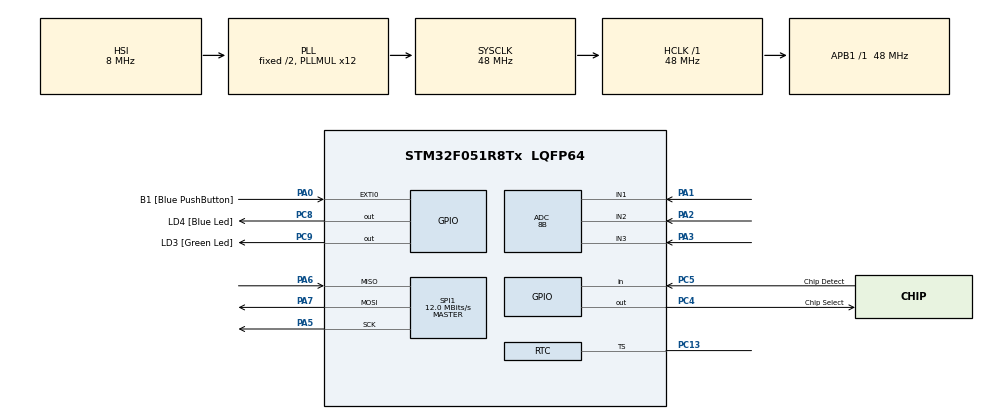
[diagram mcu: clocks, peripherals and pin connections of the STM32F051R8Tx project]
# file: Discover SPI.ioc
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ADC.ClockPrescaler=ADC_CLOCK_SYNC_PCLK_DIV4
ADC.DMAContinuousRequests=ENABLE
ADC.DiscontinuousConvMode=ENABLE
ADC.Overrun=ADC_OVR_DATA_OVERWRITTEN
ADC.Resolution=ADC_RESOLUTION_8B
ADC.SamplingTime=ADC_SAMPLETIME_71CYCLES_5
Dma.ADC.2.Direction=DMA_PERIPH_TO_MEMORY
Dma.ADC.2.Instance=DMA1_Channel1
Dma.ADC.2.MemDataAlignment=DMA_MDATAALIGN_HALFWORD
Dma.ADC.2.MemInc=DMA_MINC_ENABLE
Dma.ADC.2.Mode=DMA_NORMAL
Dma.ADC.2.PeriphDataAlignment=DMA_PDATAALIGN_HALFWORD
Dma.ADC.2.PeriphInc=DMA_PINC_DISABLE
Dma.ADC.2.Priority=DMA_PRIORITY_HIGH
Dma.Request0=SPI1_RX
Dma.Request1=SPI1_TX
Dma.Request2=ADC
Dma.SPI1_RX.0.Direction=DMA_PERIPH_TO_MEMORY
Dma.SPI1_RX.0.Instance=DMA1_Channel2
Dma.SPI1_RX.0.MemDataAlignment=DMA_MDATAALIGN_BYTE
Dma.SPI1_RX.0.MemInc=DMA_MINC_ENABLE
Dma.SPI1_RX.0.Mode=DMA_NORMAL
Dma.SPI1_RX.0.PeriphDataAlignment=DMA_PDATAALIGN_BYTE
Dma.SPI1_RX.0.PeriphInc=DMA_PINC_DISABLE
Dma.SPI1_RX.0.Priority=DMA_PRIORITY_MEDIUM
Dma.SPI1_TX.1.Direction=DMA_MEMORY_TO_PERIPH
Dma.SPI1_TX.1.Instance=DMA1_Channel3
Dma.SPI1_TX.1.MemDataAlignment=DMA_MDATAALIGN_BYTE
Dma.SPI1_TX.1.MemInc=DMA_MINC_ENABLE
Dma.SPI1_TX.1.Mode=DMA_NORMAL
Dma.SPI1_TX.1.PeriphDataAlignment=DMA_PDATAALIGN_BYTE
Dma.SPI1_TX.1.PeriphInc=DMA_PINC_DISABLE
Dma.SPI1_TX.1.Priority=DMA_PRIORITY_MEDIUM
Mcu.Family=STM32F0
Mcu.Name=STM32F051R8Tx
Mcu.Package=LQFP64
NVIC.DMA1_Channel1_IRQn=true\:0\:0\:false\:false\:true
NVIC.DMA1_Channel2_3_IRQn=true\:0\:0\:false\:false\:true
NVIC.SPI1_IRQn=true\:0\:0\:false\:false\:true
PA0.GPIO_Label=B1 [Blue PushButton]
PA0.GPIO_ModeDefaultEXTI=GPIO_MODE_EVT_RISING
PA0.Signal=GPXTI0
PA1.Mode=IN1
PA1.Signal=ADC_IN1
PA13.GPIO_Label=SWDIO
PA13.Signal=SYS_SWDIO
PA14.GPIO_Label=SWCLK
PA14.Signal=SYS_SWCLK
PA2.Mode=IN2
PA2.Signal=ADC_IN2
PA3.Mode=IN3
PA3.Signal=ADC_IN3
PA5.Mode=Full_Duplex_Master
PA5.Signal=SPI1_SCK
PA6.GPIO_PuPd=GPIO_NOPULL
PA6.Mode=Full_Duplex_Master
PA6.Signal=SPI1_MISO
PA7.Mode=Full_Duplex_Master
PA7.Signal=SPI1_MOSI
PC13.Mode=Timestamp enabled
PC13.Signal=RTC_TS
PC4.GPIO_Label=Chip Select
PC4.GPIO_ModeDefaultOutputPP=GPIO_MODE_OUTPUT_PP
PC4.GPIO_PuPd=GPIO_NOPULL
PC4.GPIO_Speed=GPIO_SPEED_FREQ_LOW
PC4.Signal=GPIO_Output
PC5.GPIO_Label=Chip Detect
PC5.GPIO_PuPd=GPIO_PULLUP
PC5.Signal=GPIO_Input
PC8.GPIO_Label=LD4 [Blue Led]
PC8.Signal=GPIO_Output
PC9.GPIO_Label=LD3 [Green Led]
PC9.Signal=GPIO_Output
ProjectManager.HeapSize=0x200
ProjectManager.StackSize=0x400
ProjectManager.TargetToolchain=MDK-ARM V5
RCC.AHBFreq_Value=48000000
RCC.APB1Freq_Value=48000000
RCC.APB1TimFreq_Value=48000000
RCC.HCLKFreq_Value=48000000
RCC.PLLMUL=RCC_PLL_MUL12
RCC.SYSCLKFreq_VALUE=48000000
RCC.SYSCLKSource=RCC_SYSCLKSOURCE_PLLCLK
RTC.Alarm-Alarm\ A=RTC_ALARM_A
SPI1.BaudRatePrescaler=SPI_BAUDRATEPRESCALER_4
SPI1.CalculateBaudRate=12.0 MBits/s
SPI1.DataSize=SPI_DATASIZE_8BIT
SPI1.Direction=SPI_DIRECTION_2LINES
SPI1.Mode=SPI_MODE_MASTER
SPI1.VirtualType=VM_MASTER
VP_ADC_Vref_Input.Mode=IN-Vrefint
VP_RTC_VS_RTC_Activate.Mode=RTC_Enabled
VP_RTC_VS_RTC_Alarm_A_Intern.Mode=Alarm A
VP_RTC_VS_RTC_Calendar.Mode=RTC_Calendar
board=STM32F0DISCOVERY

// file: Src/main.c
/**
  ******************************************************************************
  * File Name          : main.c
  * Description        : Main program body
  ******************************************************************************
  ** This notice applies to any and all portions of this file
  * that are not between comment pairs USER CODE BEGIN and
  * USER CODE END. Other portions of this file, whether
  * inserted by the user or by software development tools
  * are owned by their respective copyright owners.
  *
  * COPYRIGHT(c) 2017 STMicroelectronics
  *
  * Redistribution and use in source and binary forms, with or without modification,
  * are permitted provided that the following conditions are met:
  *   1. Redistributions of source code must retain the above copyright notice,
  *      this list of conditions and the following disclaimer.
  *   2. Redistributions in binary form must reproduce the above copyright notice,
  *      this list of conditions and the following disclaimer in the documentation
  *      and/or other materials provided with the distribution.
  *   3. Neither the name of STMicroelectronics nor the names of its contributors
  *      may be used to endorse or promote products derived from this software
  *      without specific prior written permission.
  *
  * THIS SOFTWARE IS PROVIDED BY THE COPYRIGHT HOLDERS AND CONTRIBUTORS "AS IS"
  * AND ANY EXPRESS OR IMPLIED WARRANTIES, INCLUDING, BUT NOT LIMITED TO, THE
  * IMPLIED WARRANTIES OF MERCHANTABILITY AND FITNESS FOR A PARTICULAR PURPOSE ARE
  * DISCLAIMED. IN NO EVENT SHALL THE COPYRIGHT HOLDER OR CONTRIBUTORS BE LIABLE
  * FOR ANY DIRECT, INDIRECT, INCIDENTAL, SPECIAL, EXEMPLARY, OR CONSEQUENTIAL
  * DAMAGES (INCLUDING, BUT NOT LIMITED TO, PROCUREMENT OF SUBSTITUTE GOODS OR
  * SERVICES; LOSS OF USE, DATA, OR PROFITS; OR BUSINESS INTERRUPTION) HOWEVER
  * CAUSED AND ON ANY THEORY OF LIABILITY, WHETHER IN CONTRACT, STRICT LIABILITY,
  * OR TORT (INCLUDING NEGLIGENCE OR OTHERWISE) ARISING IN ANY WAY OUT OF THE USE
  * OF THIS SOFTWARE, EVEN IF ADVISED OF THE POSSIBILITY OF SUCH DAMAGE.
  *
  ******************************************************************************
  */
#include "main.h"
#include "stm32f0xx_hal.h"

/* USER CODE BEGIN Includes */
#include "stdio.h"
/* USER CODE END Includes */

ADC_HandleTypeDef hadc;
DMA_HandleTypeDef hdma_adc;

RTC_HandleTypeDef hrtc;

SPI_HandleTypeDef hspi1;
DMA_HandleTypeDef hdma_spi1_rx;
DMA_HandleTypeDef hdma_spi1_tx;

/* USER CODE BEGIN PV */
/* Private variables ---------------------------------------------------------*/
enum SD_STATUS {BEGIN_TRANSFER, TRANSFER_WAIT, TRANSFER_COMPLETE, TRANSFER_ERROR, START_ERROR} SD_CODE;
uint8_t aTxBuffer[400]; //sets the memory at Tx and Rx buffer to be zero, the word is specified to be 32 bit aka size of in;
uint8_t aRxBuffer[400];
int i = 0;
int MeasurementNumber;
int V1, V2, V3, VREF;
unsigned ADC_Value[4];

/* USER CODE END PV */

void SystemClock_Config(void);
static void MX_GPIO_Init(void);
static void MX_DMA_Init(void);
static void MX_SPI1_Init(void);
static void MX_ADC_Init(void);
static void MX_RTC_Init(void);

/* USER CODE BEGIN PFP */
/* Private function prototypes -----------------------------------------------*/

/* USER CODE END PFP */

int main(void)
{

  /* USER CODE BEGIN 1 */
memset(aTxBuffer, 0x00, 400);
memset(aRxBuffer, 0x00, 400);
  /* USER CODE END 1 */

  /* MCU Configuration----------------------------------------------------------*/

  /* Reset of all peripherals, Initializes the Flash interface and the Systick. */
  HAL_Init();

  /* Configure the system clock */
  SystemClock_Config();

  /* Initialize all configured peripherals */
  MX_GPIO_Init();
  MX_DMA_Init();
  MX_SPI1_Init();
  MX_ADC_Init();
  MX_RTC_Init();

  /* Infinite loop */
  while (1)
  {

  /* USER CODE BEGIN 3 */
  if (HAL_ADC_Start_DMA(&hadc, ADC_Value, 1) != HAL_OK) // calls the DMA ADC to begin and if it does not begin as expected , it will write an error
	{
	  Error_Handler();
	}

  HAL_Delay(200);
 //SD(BEGIN_TRANSFER);

  }
  /* USER CODE END 3 */

}

/** System Clock Configuration
*/
void SystemClock_Config(void)
{

  RCC_OscInitTypeDef RCC_OscInitStruct;
  RCC_ClkInitTypeDef RCC_ClkInitStruct;
  RCC_PeriphCLKInitTypeDef PeriphClkInit;

    /**Initializes the CPU, AHB and APB busses clocks
    */
  RCC_OscInitStruct.OscillatorType = RCC_OSCILLATORTYPE_HSI|RCC_OSCILLATORTYPE_LSI;
  RCC_OscInitStruct.HSIState = RCC_HSI_ON;
  RCC_OscInitStruct.HSICalibrationValue = 16;
  RCC_OscInitStruct.LSIState = RCC_LSI_ON;
  RCC_OscInitStruct.PLL.PLLState = RCC_PLL_ON;
  RCC_OscInitStruct.PLL.PLLSource = RCC_PLLSOURCE_HSI;
  RCC_OscInitStruct.PLL.PLLMUL = RCC_PLL_MUL12;
  RCC_OscInitStruct.PLL.PREDIV = RCC_PREDIV_DIV1;
  if (HAL_RCC_OscConfig(&RCC_OscInitStruct) != HAL_OK)
  {
    _Error_Handler(__FILE__, __LINE__);
  }

    /**Initializes the CPU, AHB and APB busses clocks
    */
  RCC_ClkInitStruct.ClockType = RCC_CLOCKTYPE_HCLK|RCC_CLOCKTYPE_SYSCLK
                              |RCC_CLOCKTYPE_PCLK1;
  RCC_ClkInitStruct.SYSCLKSource = RCC_SYSCLKSOURCE_PLLCLK;
  RCC_ClkInitStruct.AHBCLKDivider = RCC_SYSCLK_DIV1;
  RCC_ClkInitStruct.APB1CLKDivider = RCC_HCLK_DIV1;

  if (HAL_RCC_ClockConfig(&RCC_ClkInitStruct, FLASH_LATENCY_1) != HAL_OK)
  {
    _Error_Handler(__FILE__, __LINE__);
  }

  PeriphClkInit.PeriphClockSelection = RCC_PERIPHCLK_RTC;
  PeriphClkInit.RTCClockSelection = RCC_RTCCLKSOURCE_LSI;
  if (HAL_RCCEx_PeriphCLKConfig(&PeriphClkInit) != HAL_OK)
  {
    _Error_Handler(__FILE__, __LINE__);
  }

    /**Configure the Systick interrupt time
    */
  HAL_SYSTICK_Config(HAL_RCC_GetHCLKFreq()/1000);

    /**Configure the Systick
    */
  HAL_SYSTICK_CLKSourceConfig(SYSTICK_CLKSOURCE_HCLK);

  /* SysTick_IRQn interrupt configuration */
  HAL_NVIC_SetPriority(SysTick_IRQn, 0, 0);
}

/* ADC init function */
static void MX_ADC_Init(void)
{

  ADC_ChannelConfTypeDef sConfig;

    /**Configure the global features of the ADC (Clock, Resolution, Data Alignment and number of conversion)
    */
  hadc.Instance = ADC1;
  hadc.Init.ClockPrescaler = ADC_CLOCK_SYNC_PCLK_DIV4;
  hadc.Init.Resolution = ADC_RESOLUTION_8B;
  hadc.Init.DataAlign = ADC_DATAALIGN_RIGHT;
  hadc.Init.ScanConvMode = ADC_SCAN_DIRECTION_FORWARD;
  hadc.Init.EOCSelection = ADC_EOC_SINGLE_CONV;
  hadc.Init.LowPowerAutoWait = DISABLE;
  hadc.Init.LowPowerAutoPowerOff = DISABLE;
  hadc.Init.ContinuousConvMode = DISABLE;
  hadc.Init.DiscontinuousConvMode = ENABLE;
  hadc.Init.ExternalTrigConv = ADC_SOFTWARE_START;
  hadc.Init.ExternalTrigConvEdge = ADC_EXTERNALTRIGCONVEDGE_NONE;
  hadc.Init.DMAContinuousRequests = ENABLE;
  hadc.Init.Overrun = ADC_OVR_DATA_OVERWRITTEN;
  if (HAL_ADC_Init(&hadc) != HAL_OK)
  {
    _Error_Handler(__FILE__, __LINE__);
  }

    /**Configure for the selected ADC regular channel to be converted.
    */
  sConfig.Channel = ADC_CHANNEL_1;
  sConfig.Rank = ADC_RANK_CHANNEL_NUMBER;
  sConfig.SamplingTime = ADC_SAMPLETIME_71CYCLES_5;
  if (HAL_ADC_ConfigChannel(&hadc, &sConfig) != HAL_OK)
  {
    _Error_Handler(__FILE__, __LINE__);
  }

    /**Configure for the selected ADC regular channel to be converted.
    */
  sConfig.Channel = ADC_CHANNEL_2;
  if (HAL_ADC_ConfigChannel(&hadc, &sConfig) != HAL_OK)
  {
    _Error_Handler(__FILE__, __LINE__);
  }

    /**Configure for the selected ADC regular channel to be converted.
    */
  sConfig.Channel = ADC_CHANNEL_3;
  if (HAL_ADC_ConfigChannel(&hadc, &sConfig) != HAL_OK)
  {
    _Error_Handler(__FILE__, __LINE__);
  }

    /**Configure for the selected ADC regular channel to be converted.
    */
  sConfig.Channel = ADC_CHANNEL_VREFINT;
  if (HAL_ADC_ConfigChannel(&hadc, &sConfig) != HAL_OK)
  {
    _Error_Handler(__FILE__, __LINE__);
  }

}

/* RTC init function */
static void MX_RTC_Init(void)
{

  RTC_TimeTypeDef sTime;
  RTC_DateTypeDef sDate;
  RTC_AlarmTypeDef sAlarm;

    /**Initialize RTC Only
    */
  hrtc.Instance = RTC;
  hrtc.Init.HourFormat = RTC_HOURFORMAT_24;
  hrtc.Init.AsynchPrediv = 127;
  hrtc.Init.SynchPrediv = 255;
  hrtc.Init.OutPut = RTC_OUTPUT_DISABLE;
  hrtc.Init.OutPutPolarity = RTC_OUTPUT_POLARITY_HIGH;
  hrtc.Init.OutPutType = RTC_OUTPUT_TYPE_OPENDRAIN;
  if (HAL_RTC_Init(&hrtc) != HAL_OK)
  {
    _Error_Handler(__FILE__, __LINE__);
  }

    /**Initialize RTC and set the Time and Date
    */
  sTime.Hours = 0x0;
  sTime.Minutes = 0x0;
  sTime.Seconds = 0x0;
  sTime.DayLightSaving = RTC_DAYLIGHTSAVING_NONE;
  sTime.StoreOperation = RTC_STOREOPERATION_RESET;
  if (HAL_RTC_SetTime(&hrtc, &sTime, RTC_FORMAT_BCD) != HAL_OK)
  {
    _Error_Handler(__FILE__, __LINE__);
  }

  sDate.WeekDay = RTC_WEEKDAY_MONDAY;
  sDate.Month = RTC_MONTH_JANUARY;
  sDate.Date = 0x1;
  sDate.Year = 0x0;

  if (HAL_RTC_SetDate(&hrtc, &sDate, RTC_FORMAT_BCD) != HAL_OK)
  {
    _Error_Handler(__FILE__, __LINE__);
  }

  if(HAL_RTCEx_BKUPRead(&hrtc, RTC_BKP_DR0) != 0x32F2){
    HAL_RTCEx_BKUPWrite(&hrtc,RTC_BKP_DR0,0x32F2);
  }
    /**Enable the Alarm A
    */
  sAlarm.AlarmTime.Hours = 0x0;
  sAlarm.AlarmTime.Minutes = 0x0;
  sAlarm.AlarmTime.Seconds = 0x0;
  sAlarm.AlarmTime.SubSeconds = 0x0;
  sAlarm.AlarmTime.DayLightSaving = RTC_DAYLIGHTSAVING_NONE;
  sAlarm.AlarmTime.StoreOperation = RTC_STOREOPERATION_RESET;
  sAlarm.AlarmMask = RTC_ALARMMASK_NONE;
  sAlarm.AlarmSubSecondMask = RTC_ALARMSUBSECONDMASK_ALL;
  sAlarm.AlarmDateWeekDaySel = RTC_ALARMDATEWEEKDAYSEL_DATE;
  sAlarm.AlarmDateWeekDay = 0x1;
  sAlarm.Alarm = RTC_ALARM_A;
  if (HAL_RTC_SetAlarm(&hrtc, &sAlarm, RTC_FORMAT_BCD) != HAL_OK)
  {
    _Error_Handler(__FILE__, __LINE__);
  }

    /**Enable the TimeStamp
    */
  if (HAL_RTCEx_SetTimeStamp(&hrtc, RTC_TIMESTAMPEDGE_RISING, RTC_TIMESTAMPPIN_DEFAULT) != HAL_OK)
  {
    _Error_Handler(__FILE__, __LINE__);
  }

}

/* SPI1 init function */
static void MX_SPI1_Init(void)
{

  hspi1.Instance = SPI1;
  hspi1.Init.Mode = SPI_MODE_MASTER;
  hspi1.Init.Direction = SPI_DIRECTION_2LINES;
  hspi1.Init.DataSize = SPI_DATASIZE_8BIT;
  hspi1.Init.CLKPolarity = SPI_POLARITY_LOW;
  hspi1.Init.CLKPhase = SPI_PHASE_1EDGE;
  hspi1.Init.NSS = SPI_NSS_SOFT;
  hspi1.Init.BaudRatePrescaler = SPI_BAUDRATEPRESCALER_4;
  hspi1.Init.FirstBit = SPI_FIRSTBIT_MSB;
  hspi1.Init.TIMode = SPI_TIMODE_DISABLE;
  hspi1.Init.CRCCalculation = SPI_CRCCALCULATION_DISABLE;
  hspi1.Init.CRCPolynomial = 7;
  hspi1.Init.CRCLength = SPI_CRC_LENGTH_DATASIZE;
  hspi1.Init.NSSPMode = SPI_NSS_PULSE_DISABLE;
  if (HAL_SPI_Init(&hspi1) != HAL_OK)
  {
    _Error_Handler(__FILE__, __LINE__);
  }

}

static void MX_DMA_Init(void)
{
  /* DMA controller clock enable */
  __HAL_RCC_DMA1_CLK_ENABLE();

  /* DMA interrupt init */
  /* DMA1_Channel1_IRQn interrupt configuration */
  HAL_NVIC_SetPriority(DMA1_Channel1_IRQn, 1, 0);
  HAL_NVIC_EnableIRQ(DMA1_Channel1_IRQn);
  /* DMA1_Channel2_3_IRQn interrupt configuration */
  HAL_NVIC_SetPriority(DMA1_Channel2_3_IRQn, 0, 0);
  HAL_NVIC_EnableIRQ(DMA1_Channel2_3_IRQn);

}

/** Configure pins as
        * Analog
        * Input
        * Output
        * EVENT_OUT
        * EXTI
*/
static void MX_GPIO_Init(void)
{

  GPIO_InitTypeDef GPIO_InitStruct;

  /* GPIO Ports Clock Enable */
  __HAL_RCC_GPIOC_CLK_ENABLE();
  __HAL_RCC_GPIOA_CLK_ENABLE();

  /*Configure GPIO pin Output Level */
  HAL_GPIO_WritePin(GPIOC, Chip_Select_Pin|LD4_Pin|LD3_Pin, GPIO_PIN_RESET);

  /*Configure GPIO pin : B1_Pin */
  GPIO_InitStruct.Pin = B1_Pin;
  GPIO_InitStruct.Mode = GPIO_MODE_EVT_RISING;
  GPIO_InitStruct.Pull = GPIO_NOPULL;
  HAL_GPIO_Init(B1_GPIO_Port, &GPIO_InitStruct);

  /*Configure GPIO pins : Chip_Select_Pin LD4_Pin LD3_Pin */
  GPIO_InitStruct.Pin = Chip_Select_Pin|LD4_Pin|LD3_Pin;
  GPIO_InitStruct.Mode = GPIO_MODE_OUTPUT_PP;
  GPIO_InitStruct.Pull = GPIO_NOPULL;
  GPIO_InitStruct.Speed = GPIO_SPEED_FREQ_LOW;
  HAL_GPIO_Init(GPIOC, &GPIO_InitStruct);

  /*Configure GPIO pin : Chip_Detect_Pin */
  GPIO_InitStruct.Pin = Chip_Detect_Pin;
  GPIO_InitStruct.Mode = GPIO_MODE_INPUT;
  GPIO_InitStruct.Pull = GPIO_PULLUP;
  HAL_GPIO_Init(Chip_Detect_GPIO_Port, &GPIO_InitStruct);

}

/* USER CODE BEGIN 4 */
int SD(enum SD_STATUS STATUS)
{
	int ADC_index;
	int T, R;
	unsigned ADC_Value1[4];
	ADC_Value1[0] = 255;
	ADC_Value1[1] = 255;
	ADC_Value1[2] = 255;
	ADC_Value1[3] = 255;

	for (int v = 0;  v < 400;  v++)
		{
			if (ADC_index == 4)
				{
					ADC_index = 0;
				}
			aTxBuffer[v] = ADC_Value1[ADC_index];

		}

	switch(SD_CODE)
		{
			case BEGIN_TRANSFER :

				if (HAL_SPI_TransmitReceive_DMA(&hspi1, (uint8_t*)aTxBuffer, (uint8_t *)aRxBuffer, 4000) != HAL_OK)
					{
	 					SD_CODE = START_ERROR;
					}
				else
						SD_CODE = TRANSFER_WAIT;

			case START_ERROR :

				HAL_GPIO_WritePin(GPIOC, GPIO_PIN_9, GPIO_PIN_SET);
				Error_Handler();
			case TRANSFER_WAIT :

				HAL_GPIO_WritePin(GPIOC, GPIO_PIN_9, GPIO_PIN_SET);
  				HAL_GPIO_WritePin(GPIOC, GPIO_PIN_8, GPIO_PIN_SET);
				HAL_Delay(100);
				HAL_GPIO_WritePin(GPIOC, GPIO_PIN_9, GPIO_PIN_RESET);
  				HAL_GPIO_WritePin(GPIOC, GPIO_PIN_8, GPIO_PIN_RESET);
			case TRANSFER_COMPLETE :
				T = sizeof(aTxBuffer);
				R = sizeof(aRxBuffer);
				for(int j = 4; j > 0; j--)
					{
						if(R == 0 && T > 0)
							{
								printf("not all data was recieved");
						 		return T;
						    	}
						else if(T == 0 && R > 0)
							{
								printf("not all data was transmitted");
						 		return R;
							}
						else if(T == 0 && R == 0)
							{
								return 0;
							}
							R--;
							T--;
					}

			default : // case TRANSFER_ERROR
						Error_Handler();
						return 255;
		}
}

void HAL_SPI_ErrorCallback(SPI_HandleTypeDef *hspi1)
	{
		SD_CODE = TRANSFER_ERROR;
		SD(SD_CODE);
	}

void SPI_DMATransmitReceiveCplt(DMA_HandleTypeDef *hspi1)
	{
		SD_CODE = TRANSFER_COMPLETE;
		HAL_GPIO_WritePin(GPIOC, GPIO_PIN_9, GPIO_PIN_RESET);
		HAL_GPIO_WritePin(GPIOC, GPIO_PIN_8, GPIO_PIN_SET);
		SD(SD_CODE);
	}

void ADC_IRQHandler() 		// Handles ADC interupt requests
{
	HAL_ADC_IRQHandler(&hadc);
}

void DMA1_CHANNEL1_IRQHandler() // hnades DMA interupt requests
{
	HAL_DMA_IRQHandler(&hdma_adc);
}

void HAL_ADC_ConvCpltCallback(ADC_HandleTypeDef* hadc) // ADC read value IT routine
{
	if(__HAL_ADC_GET_FLAG(hadc,ADC_FLAG_RDY))
	{

				if (i == 0)
				{
					ADC_Value[i] = HAL_ADC_GetValue(hadc);

					MeasurementNumber++;
					i++;
					if (__HAL_ADC_GET_FLAG(hadc,ADC_FLAG_EOSMP))
					{
						HAL_ADC_Start_DMA(hadc, ADC_Value, 1);
					}

				}

				else if (i == 1)
				{
					ADC_Value[i] = HAL_ADC_GetValue(hadc);

					MeasurementNumber++;
					i++;
					if (__HAL_ADC_GET_FLAG(hadc,ADC_FLAG_EOSMP))
					{
						HAL_ADC_Start_DMA(hadc, ADC_Value, 1);
					}
				}

				else if (i == 2)
				{
					ADC_Value[i] = HAL_ADC_GetValue(hadc);

					MeasurementNumber++;
					i++;
					if (__HAL_ADC_GET_FLAG(hadc,ADC_FLAG_EOSMP))
					{
						HAL_ADC_Start_DMA(hadc, ADC_Value, 1);
					}
				}

				else if (i == 3)
				{
					ADC_Value[i] = HAL_ADC_GetValue(hadc);

					MeasurementNumber++;
					V1 = 3.3 * ADC_Value[0]/255;
					V2 = 3.3 * ADC_Value[1]/255;
					V3 = 3.3 * ADC_Value[2]/255;
					VREF = 3.3 * ADC_Value[3]/255;
					i = 0;

				}

	}

}

void HAL_SPI_TxRxCpltCallback(SPI_HandleTypeDef *hspi1)
{
  /* Turn LED3 on: Transfer in transmission/reception process is complete */
  HAL_GPIO_WritePin(GPIOC, GPIO_PIN_9, GPIO_PIN_RESET);
  HAL_GPIO_WritePin(GPIOC, GPIO_PIN_8, GPIO_PIN_SET);
  SD_CODE = TRANSFER_COMPLETE;
}

/* USER CODE END 4 */

void _Error_Handler(char * file, int line)
{
  while(1)
  {
  }
}

/************************ (C) COPYRIGHT STMicroelectronics *****END OF FILE****/
